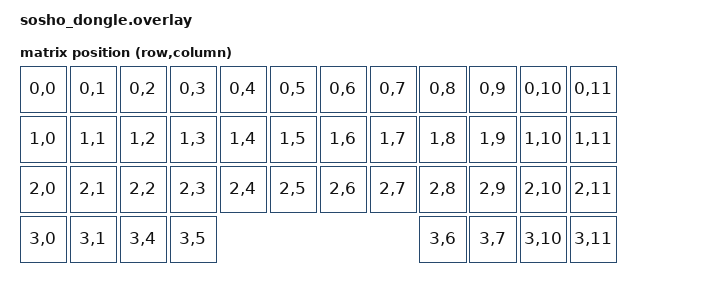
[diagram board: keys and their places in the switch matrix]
#include <dt-bindings/zmk/matrix_transform.h>
#include <dt-bindings/zmk/input_transform.h>
#include "sosho.dtsi"

/ {
    chosen {
        zmk,kscan = &kscan0;
        zmk,physical-layout = &physical_layout0;
        /* 画面の登録はプラグイン側が自動で行うため、ここからは削除しました */
    };

    /* ▼ 左右からの入力受け取り設定（トラックパッド＆トラックボール用） ▼ */
    split_inputs {
        compatible = "zmk,split-inputs";
        status = "okay";
        
        glidepoint_split: glidepoint_split@0 {
            compatible = "zmk,input-split";
            reg = <0>;
        };

        trackball_split: trackball_split@1 {
            compatible = "zmk,input-split";
            reg = <1>;
        };
    };

    /* 入力リスナー設定 (ドングルでデータを処理する) */
    glidepoint_split_listener {
        compatible = "zmk,input-listener";
        status = "okay";
        device = <&glidepoint_split>;
    };

    trackball_split_listener {
        compatible = "zmk,input-listener";
        status = "okay";
        device = <&trackball_split>;
    };

    default_transform: keymap_transform_0 {
        compatible = "zmk,matrix-transform";
        columns = <12>;
        rows = <4>;
        map = <
            RC(0,0) RC(0,1) RC(0,2) RC(0,3) RC(0,4) RC(0,5)      RC(0,6) RC(0,7) RC(0,8) RC(0,9) RC(0,10) RC(0,11)
            RC(1,0) RC(1,1) RC(1,2) RC(1,3) RC(1,4) RC(1,5)      RC(1,6) RC(1,7) RC(1,8) RC(1,9) RC(1,10) RC(1,11)
            RC(2,0) RC(2,1) RC(2,2) RC(2,3) RC(2,4) RC(2,5)      RC(2,6) RC(2,7) RC(2,8) RC(2,9) RC(2,10) RC(2,11)
            RC(3,0) RC(3,1)                 RC(3,4) RC(3,5)      RC(3,6) RC(3,7)                  RC(3,10) RC(3,11)
        >;
    };

    physical_layout0: physical_layout_0 {
        compatible = "zmk,physical-layout";
        display-name = "Default Layout";
        transform = <&default_transform>;
    };
};

&kscan0 {
    compatible = "zmk,kscan-mock";
    /delete-property/ wakeup-source;
    /delete-property/ diode-direction;
    /delete-property/ row-gpios;
    columns = <0>;
    rows = <0>;
    events = <0>;
};

/* * 画面に関する記述はすべて綺麗に削除しました。
 * Prospector専用の正しいピン配置は、すべて合体させたプラグインが自動制御します！
 */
